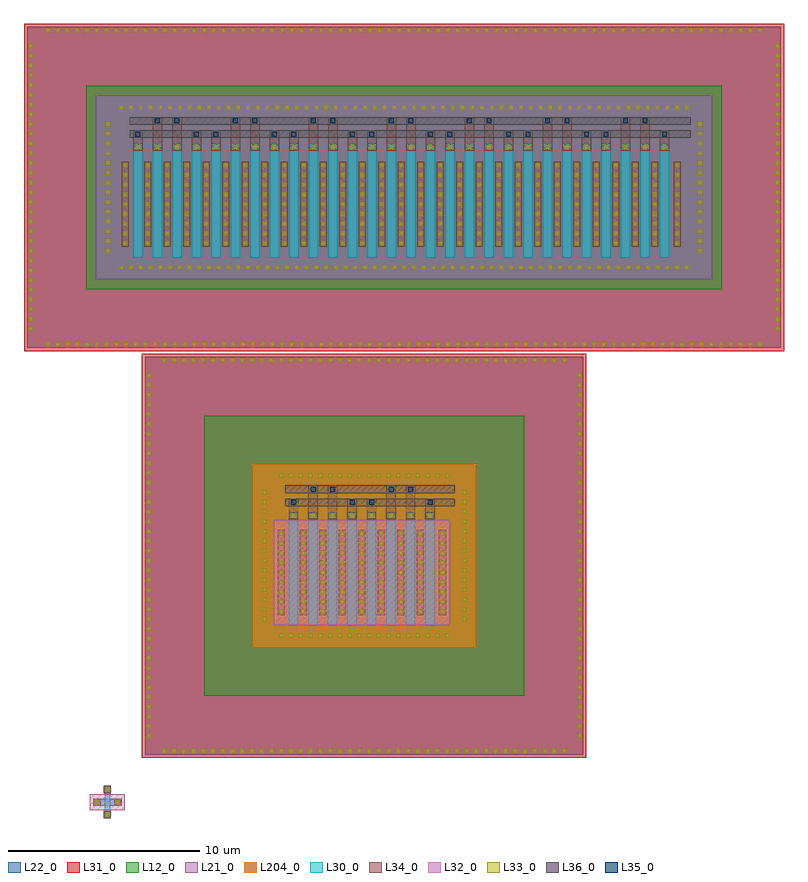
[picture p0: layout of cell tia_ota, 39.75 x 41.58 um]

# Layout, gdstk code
import gdstk
lib = gdstk.Library(unit=1e-6, precision=1e-09)
def R(c, l, rs):  # rectangles x0, y0, x1, y1
    for r in rs: c.add(gdstk.rectangle(r[:2], r[2:], *l))
def A(c, l, x, y, w, h, nx, ny, dx, dy):  # array of equal rectangles
    R(c, l, [(x+i*dx, y+j*dy, x+i*dx+w, y+j*dy+h) for i in range(nx) for j in range(ny)])
def P(c, l, *ps):  # polygons
    for p in ps: c.add(gdstk.Polygon(p, *l))
L12_0 = (12, 0)
L21_0 = (21, 0)
L22_0 = (22, 0)
L30_0 = (30, 0)
L31_0 = (31, 0)
L32_0 = (32, 0)
L33_0 = (33, 0)
L34_0 = (34, 0)
L35_0 = (35, 0)
L36_0 = (36, 0)
L204_0 = (204, 0)

nfet = lib.new_cell('nfet')
R(nfet, L12_0, [(-4.24,-3.95,12.51,10.7)])
R(nfet, L22_0, [(-7.32,-7.03,15.59,13.78), (-1.28,-0.99,9.55,7.74), (-0.42,0,8.44,5)])
A(nfet, L30_0, 0.19, -0.3, 0.5, 5.96, 8, 1, 1.02, 0)
R(nfet, L31_0, [(-7.49,-7.2,15.76,13.95), (-1.45,-1.16,9.72,7.91)])
R(nfet, L32_0, [(-0.59,-0.24,8.61,5.24)])
A(nfet, L33_0, -6.43, -6.95, 0.22, 0.22, 42, 2, 0.51, 20.43)
A(nfet, L33_0, -7.24, -6.17, 0.22, 0.22, 1, 38, 0, 0.51)
A(nfet, L33_0, 15.29, -6.17, 0.22, 0.22, 1, 38, 0, 0.51)
A(nfet, L33_0, -0.31, -0.91, 0.22, 0.22, 18, 2, 0.51, 8.35)
A(nfet, L33_0, -1.2, -0.05, 0.22, 0.22, 1, 14, 0, 0.51)
A(nfet, L33_0, 9.25, -0.05, 0.22, 0.22, 1, 14, 0, 0.51)
A(nfet, L33_0, -0.32, 0.35, 0.22, 0.22, 1, 9, 0, 0.51)
A(nfet, L33_0, 0.84, 0.35, 0.22, 0.22, 7, 9, 1.02, 0.51)
A(nfet, L33_0, 8.12, 0.35, 0.22, 0.22, 1, 9, 0, 0.51)
A(nfet, L33_0, 0.33, 5.37, 0.22, 0.22, 8, 1, 1.02, 0)
A(nfet, L34_0, 0.76, 0.27, 0.38, 4.46, 7, 1, 1.02, 0)
R(nfet, L34_0, [(-0.4,0.27,-0.02,4.73), (8.04,0.27,8.42,4.73), (0.19,5.29,0.69,6.36), (1.21,5.29,1.71,7.05), (2.23,5.29,2.73,7.05), (3.25,5.29,3.75,6.36), (4.27,5.29,4.77,6.36), (5.29,5.29,5.79,7.05), (6.31,5.29,6.81,7.05), (7.33,5.29,7.83,6.36)])
R(nfet, L35_0, [(0.31,6.03,0.57,6.29), (3.37,6.03,3.63,6.29), (4.39,6.03,4.65,6.29), (7.45,6.03,7.71,6.29), (1.33,6.72,1.59,6.98), (2.35,6.72,2.61,6.98), (5.41,6.72,5.67,6.98), (6.43,6.72,6.69,6.98)])
R(nfet, L36_0, [(0,5.96,8.86,6.36), (0,6.65,8.86,7.05)])
R(nfet, L204_0, [(-1.73,-1.44,10,8.19)])

pfet = lib.new_cell('pfet')
R(pfet, L12_0, [(-2.27,-1.94,30.98,8.7)])
R(pfet, L21_0, [(-1.76,-1.43,30.47,8.19)])
R(pfet, L22_0, [(-5.35,-5.02,34.06,11.78), (-1.32,-0.99,30.03,7.75), (-0.46,0,28.88,5)])
A(pfet, L30_0, 0.19, -0.3, 0.5, 5.98, 28, 1, 1.02, 0)
R(pfet, L31_0, [(-5.52,-5.19,34.23,11.95), (-0.63,-0.24,29.05,5.24)])
A(pfet, L33_0, -4.37, -4.94, 0.22, 0.22, 74, 2, 0.51, 16.42)
A(pfet, L33_0, -5.27, -4.125, 0.22, 0.22, 1, 30, 0, 0.51)
A(pfet, L33_0, 33.76, -4.125, 0.22, 0.22, 1, 30, 0, 0.51)
A(pfet, L33_0, -0.545, -0.91, 0.22, 0.22, 59, 2, 0.51, 8.36)
A(pfet, L33_0, -1.24, -0.045, 0.22, 0.22, 1, 14, 0, 0.51)
A(pfet, L33_0, 29.73, -0.045, 0.22, 0.22, 1, 14, 0, 0.51)
A(pfet, L33_0, -0.34, 0.35, 0.22, 0.22, 1, 9, 0, 0.51)
A(pfet, L33_0, 0.84, 0.35, 0.22, 0.22, 27, 9, 1.02, 0.51)
A(pfet, L33_0, 28.54, 0.35, 0.22, 0.22, 1, 9, 0, 0.51)
A(pfet, L33_0, 0.33, 5.38, 0.22, 0.22, 28, 1, 1.02, 0)
A(pfet, L34_0, 0.76, 0.27, 0.38, 4.46, 27, 1, 1.02, 0)
R(pfet, L34_0, [(-0.42,0.27,-0.04,4.73), (28.46,0.27,28.84,4.73), (0.19,5.3,0.69,6.37), (1.21,5.3,1.71,7.06), (2.23,5.3,2.73,7.06), (3.25,5.3,3.75,6.37), (4.27,5.3,4.77,6.37), (5.29,5.3,5.79,7.06), (6.31,5.3,6.81,7.06), (7.33,5.3,7.83,6.37), (8.35,5.3,8.85,6.37), (9.37,5.3,9.87,7.06), (10.39,5.3,10.89,7.06), (11.41,5.3,11.91,6.37), (12.43,5.3,12.93,6.37), (13.45,5.3,13.95,7.06), (14.47,5.3,14.97,7.06), (15.49,5.3,15.99,6.37), (16.51,5.3,17.01,6.37), (17.53,5.3,18.03,7.06), (18.55,5.3,19.05,7.06), (19.57,5.3,20.07,6.37), (20.59,5.3,21.09,6.37), (21.61,5.3,22.11,7.06), (22.63,5.3,23.13,7.06), (23.65,5.3,24.15,6.37), (24.67,5.3,25.17,6.37), (25.69,5.3,26.19,7.06), (26.71,5.3,27.21,7.06), (27.73,5.3,28.23,6.37)])
R(pfet, L35_0, [(0.31,6.04,0.57,6.3), (3.37,6.04,3.63,6.3), (4.39,6.04,4.65,6.3), (7.45,6.04,7.71,6.3), (8.47,6.04,8.73,6.3), (11.53,6.04,11.79,6.3), (12.55,6.04,12.81,6.3), (15.61,6.04,15.87,6.3), (16.63,6.04,16.89,6.3), (19.69,6.04,19.95,6.3), (20.71,6.04,20.97,6.3), (23.77,6.04,24.03,6.3), (24.79,6.04,25.05,6.3), (27.85,6.04,28.11,6.3), (1.33,6.73,1.59,6.99), (2.35,6.73,2.61,6.99), (5.41,6.73,5.67,6.99), (6.43,6.73,6.69,6.99), (9.49,6.73,9.75,6.99), (10.51,6.73,10.77,6.99), (13.57,6.73,13.83,6.99), (14.59,6.73,14.85,6.99), (17.65,6.73,17.91,6.99), (18.67,6.73,18.93,6.99), (21.73,6.73,21.99,6.99), (22.75,6.73,23.01,6.99), (25.81,6.73,26.07,6.99), (26.83,6.73,27.09,6.99)])
R(pfet, L36_0, [(0,5.97,29.34,6.37), (0,6.66,29.34,7.06)])

nfet_1 = lib.new_cell('nfet$1')
P(nfet_1, L22_0, [(-0.42,-0.01),(-0.42,0.37),(0,0.37),(0,0.36),(0.66,0.36),(0.66,0.37),(1.08,0.37),(1.08,-0.01),(0.66,-0.01),(0.66,0),(0,0),(0,-0.01)])
P(nfet_1, L30_0, [(0.15,-0.66),(0.15,-0.3),(0.19,-0.3),(0.19,0.66),(0.15,0.66),(0.15,1.02),(0.51,1.02),(0.51,0.66),(0.47,0.66),(0.47,-0.3),(0.51,-0.3),(0.51,-0.66)])
R(nfet_1, L32_0, [(-0.59,-0.25,1.25,0.61)])
R(nfet_1, L33_0, [(0.22,-0.59,0.44,-0.37), (-0.32,0.07,-0.1,0.29), (0.76,0.07,0.98,0.29), (0.22,0.73,0.44,0.95)])
R(nfet_1, L34_0, [(0.14,-0.67,0.52,-0.29), (-0.4,-0.01,-0.02,0.37), (0.68,-0.01,1.06,0.37), (0.14,0.65,0.52,1.03)])

tia_ota = lib.new_cell('tia_ota')
tia_ota.add(gdstk.Reference(nfet, (59.82,46.64)))
tia_ota.add(gdstk.Reference(pfet, (51.68,65.9)))
tia_ota.add(gdstk.Reference(nfet_1, (50.19,36.94)))

lib.write_gds('tia_ota.gds')
